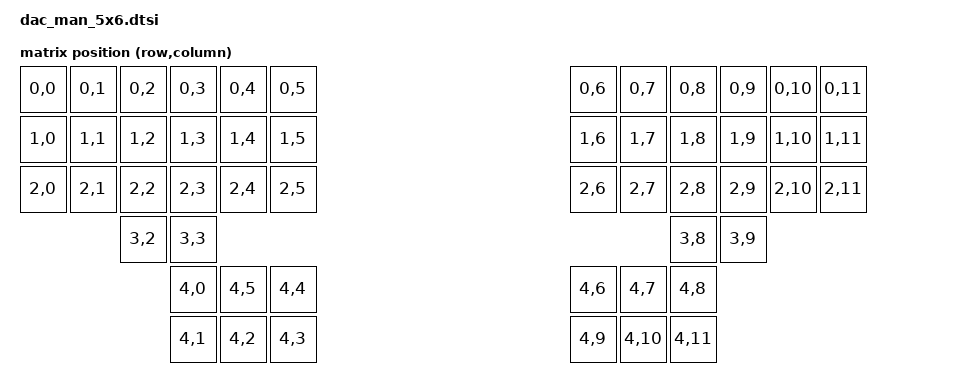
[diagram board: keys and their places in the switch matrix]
/* dac_man_5x6.dtsi */

#include <dt-bindings/gpio/gpio.h>
#include <dt-bindings/zmk/matrix_transform.h>
#include <physical_layouts.dtsi>

/ {
    kscan: kscan {
        compatible = "zmk,kscan-gpio-matrix";
        status = "disabled";          /* overlays will enable per-half */
        diode-direction = "col2row";
        row-gpios = <>;
        col-gpios = <>;
    };

    chosen {
        zmk,kscan = &kscan;
        zmk,physical-layout = &physical_layout0;
    };

    default_transform: keymap_transform_0 {
        compatible = "zmk,matrix-transform";
        columns = <12>;
        rows = <5>;

        map = <
            RC(0,0) RC(0,1) RC(0,2) RC(0,3) RC(0,4) RC(0,5)    RC(0,6) RC(0,7) RC(0,8) RC(0,9) RC(0,10) RC(0,11)
            RC(1,0) RC(1,1) RC(1,2) RC(1,3) RC(1,4) RC(1,5)    RC(1,6) RC(1,7) RC(1,8) RC(1,9) RC(1,10) RC(1,11)
            RC(2,0) RC(2,1) RC(2,2) RC(2,3) RC(2,4) RC(2,5)    RC(2,6) RC(2,7) RC(2,8) RC(2,9) RC(2,10) RC(2,11)
                                    RC(3,2) RC(3,3)                            RC(3,8) RC(3,9)
             RC(4,0) RC(4,5) RC(4,4) RC(4,1) RC(4,2) RC(4,3)     RC(4,6) RC(4,7) RC(4,8) RC(4,9) RC(4,10) RC(4,11)
        >;
    };
physical_layout0: physical_layout_0 {
        compatible = "zmk,physical-layout";
        display-name = "Dactyl Manuform 5x6";
        transform = <&default_transform>;
        kscan = <&kscan>;

        keys = <
            /* --- ROW 0 (Top) --- */
            /* Left Hand */
            &key_physical_attrs 100 100   0   0 0 0 0
            &key_physical_attrs 100 100 100   0 0 0 0
            &key_physical_attrs 100 100 200   0 0 0 0
            &key_physical_attrs 100 100 300   0 0 0 0
            &key_physical_attrs 100 100 400   0 0 0 0
            &key_physical_attrs 100 100 500   0 0 0 0
            /* Right Hand */
            &key_physical_attrs 100 100 1100   0 0 0 0
            &key_physical_attrs 100 100 1200   0 0 0 0
            &key_physical_attrs 100 100 1300   0 0 0 0
            &key_physical_attrs 100 100 1400   0 0 0 0
            &key_physical_attrs 100 100 1500   0 0 0 0
            &key_physical_attrs 100 100 1600   0 0 0 0

            /* --- ROW 1 --- */
            /* Left Hand */
            &key_physical_attrs 100 100   0 100 0 0 0
            &key_physical_attrs 100 100 100 100 0 0 0
            &key_physical_attrs 100 100 200 100 0 0 0
            &key_physical_attrs 100 100 300 100 0 0 0
            &key_physical_attrs 100 100 400 100 0 0 0
            &key_physical_attrs 100 100 500 100 0 0 0
            /* Right Hand */
            &key_physical_attrs 100 100 1100 100 0 0 0
            &key_physical_attrs 100 100 1200 100 0 0 0
            &key_physical_attrs 100 100 1300 100 0 0 0
            &key_physical_attrs 100 100 1400 100 0 0 0
            &key_physical_attrs 100 100 1500 100 0 0 0
            &key_physical_attrs 100 100 1600 100 0 0 0

            /* --- ROW 2 --- */
            /* Left Hand */
            &key_physical_attrs 100 100   0 200 0 0 0
            &key_physical_attrs 100 100 100 200 0 0 0
            &key_physical_attrs 100 100 200 200 0 0 0
            &key_physical_attrs 100 100 300 200 0 0 0
            &key_physical_attrs 100 100 400 200 0 0 0
            &key_physical_attrs 100 100 500 200 0 0 0
            /* Right Hand */
            &key_physical_attrs 100 100 1100 200 0 0 0
            &key_physical_attrs 100 100 1200 200 0 0 0
            &key_physical_attrs 100 100 1300 200 0 0 0
            &key_physical_attrs 100 100 1400 200 0 0 0
            &key_physical_attrs 100 100 1500 200 0 0 0
            &key_physical_attrs 100 100 1600 200 0 0 0

            /* --- ROW 3 (Partial/Inner) --- */
            /* Left Hand */
            &key_physical_attrs 100 100 200 300 0 0 0
            &key_physical_attrs 100 100 300 300 0 0 0
            /* Right Hand */
            &key_physical_attrs 100 100 1300 300 0 0 0
            &key_physical_attrs 100 100 1400 300 0 0 0

            /* --- ROW 4 (Thumb Cluster) --- */
            /* Left Hand */
            &key_physical_attrs 100 100 300 400 0 0 0
            &key_physical_attrs 100 100 400 400 0 0 0
            &key_physical_attrs 100 100 500 400 0 0 0
            &key_physical_attrs 100 100 300 500 0 0 0
            &key_physical_attrs 100 100 400 500 0 0 0
            &key_physical_attrs 100 100 500 500 0 0 0
            /* Right Hand */
            &key_physical_attrs 100 100 1100 400 0 0 0
            &key_physical_attrs 100 100 1200 400 0 0 0
            &key_physical_attrs 100 100 1300 400 0 0 0
            &key_physical_attrs 100 100 1100 500 0 0 0
            &key_physical_attrs 100 100 1200 500 0 0 0
            &key_physical_attrs 100 100 1300 500 0 0 0

        >;
    };
};
